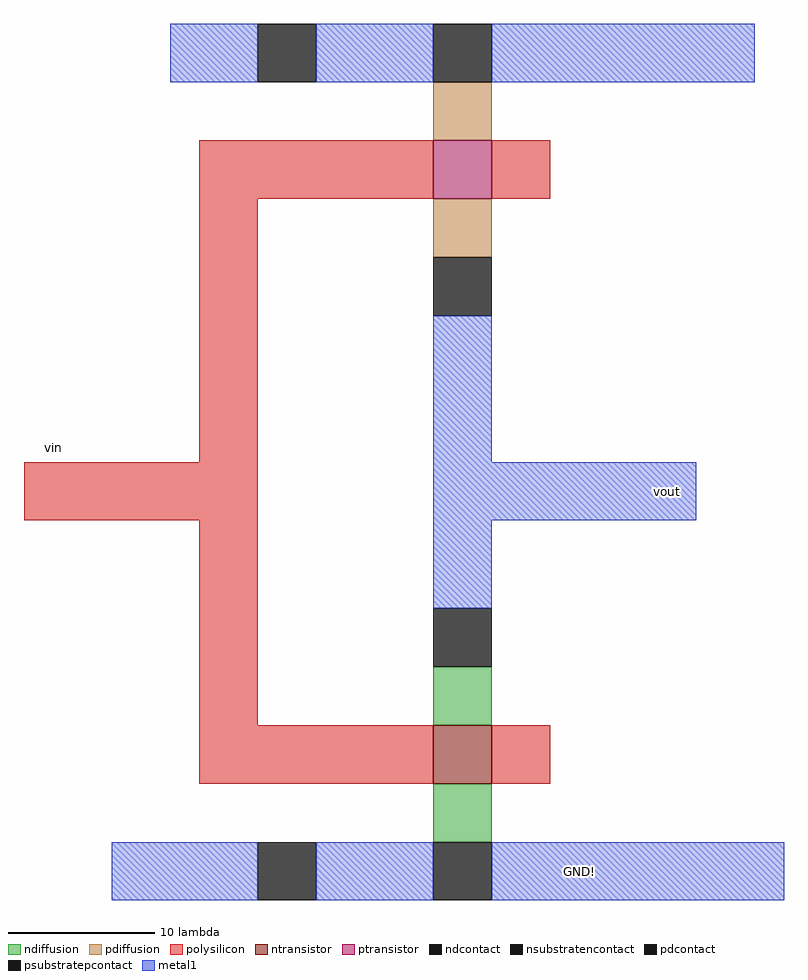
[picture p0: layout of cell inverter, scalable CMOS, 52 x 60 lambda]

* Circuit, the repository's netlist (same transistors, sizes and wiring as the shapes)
* SPICE3 file created from inverter.ext - technology: scmos
.MODEL pfet pmos
.MODEL nfet nmos
.tran 0.1n 40n
M1000 vout vin Vdd Vdd pfet w=4u l=4u
+ ad=32p pd=24u as=32p ps=24u
M1001 vout vin GND Gnd nfet w=4u l=4u
+ ad=32p pd=24u as=32p ps=24u
*C0 vout gnd! 6.4fF
*C1 a_n24_n20# gnd! 29.7fF
*C2 a_n8_10# gnd! 6.0fF
vdd vdd 0 5
vin vin 0 0 pulse 0 5 1n 2n 2n 7n 20n
.probe v(vin)
.probe v(vout)
.end

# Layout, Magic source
magic
tech scmos
<< polysilicon >>
rect -12 2 4 6
rect 8 2 12 6
rect -12 -16 -8 2
rect -24 -20 -8 -16
rect -12 -34 -8 -20
rect -12 -38 4 -34
rect 8 -38 12 -34
<< ndiffusion >>
rect 4 -34 8 -30
rect 4 -42 8 -38
<< pdiffusion >>
rect 4 6 8 10
rect 4 -2 8 2
<< metal1 >>
rect -14 10 -8 14
rect -4 10 4 14
rect 8 10 26 14
rect 4 -16 8 -6
rect 4 -20 22 -16
rect 4 -26 8 -20
rect -18 -46 -8 -42
rect -4 -46 4 -42
rect 8 -46 28 -42
<< ntransistor >>
rect 4 -38 8 -34
<< ptransistor >>
rect 4 2 8 6
<< ndcontact >>
rect 4 -30 8 -26
rect 4 -46 8 -42
<< pdcontact >>
rect 4 10 8 14
rect 4 -6 8 -2
<< psubstratepcontact >>
rect -8 -46 -4 -42
<< nsubstratencontact >>
rect -8 10 -4 14
<< labels >>
rlabel metal1 18 -20 22 -16 1 vout
rlabel space -24 -16 -20 -14 3 vin
rlabel space 12 14 16 18 5 Vdd!
rlabel metal1 12 -46 16 -42 1 GND!
<< end >>
